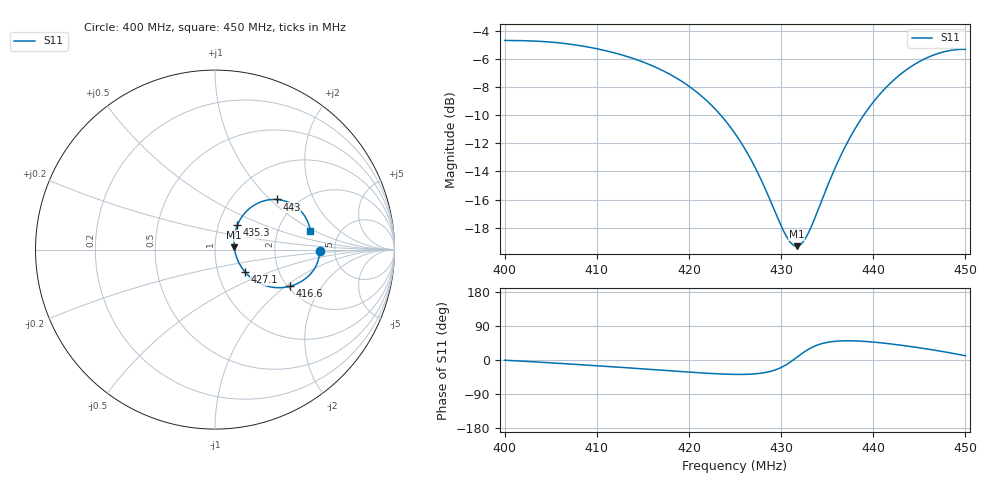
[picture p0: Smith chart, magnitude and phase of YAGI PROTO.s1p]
! TOUCHSTONE file generated by CST MICROWAVE STUDIO
! Date and time: Thu Jan 23 14:44:07 2025
! Project name: YAGI PROTO.cst
! Parameters = {AntenaLength=429.47; BoomDiameter=20; BoomLength=733; DipolePost=166; DirLength1=290.02; DirLength2=285.87; DirLength3=281.46; DirLength4=277.33; DirLength5=273.74; DirPost1=218; DirPost2=343; DirPost3=469; DirPost4=596; DirPost5=724; Gap=9; Konstanta=100; RLength=336.14; RPost=0; Ro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
! Header version: 2024
! Port assignment regex: !\s*Touchstone port\s*([0-9]+)\s*=\s*(CST MWS port|CST DES external port|CST DES block port)\s*(.+)\s* \(\"(.*)\"\)(\s*mode\s*([0-9]+))?.*
! Touchstone port assignment:
! Touchstone port 1 = CST MWS port 1 ("")
# MHz S MA R 50
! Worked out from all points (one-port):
!   1001 points, 400 MHz to 450 MHz, reference 50 ohm
!   lowest |S11| = -19.3 dB at 431.7 MHz (marker M1), VSWR 1.24, Z = 62 + j1.63 ohm
!   |S11| at or under -10 dB: 423.5 MHz to 439 MHz (15.51 MHz wide, 3.6 % of centre)
!   S11 on the Smith chart (normalised r, x): 400 MHz: 3.79, -0.07; 416.6 MHz: 2.06, -1.07; 427.1 MHz: 1.35, -0.35; 435.3 MHz: 1.23, +0.35; 443 MHz: 1.58, +1.10; 450 MHz: 3.06, +0.91
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400  0.5826 -0.6
403.3  0.5796 -4.9
406.25  0.5696 -9.3
409.35  0.5499 -14.1
412.5  0.5201 -19.2
416.6  0.4647 -26.1
418.75  0.4264 -29.8
422.15  0.3504 -35.2
423.65  0.3108 -37.1
425  0.2722 -38.0
427.15  0.2072 -36.6
430.25  0.123 -16.8
431.25  0.1097 -1.3
431.7  0.1083 6.9
432.3  0.1112 17.7
432.95  0.1204 28.0
435.3  0.1859 47.7
436.4  0.2243 50.3
437.5  0.264 50.7
438.75  0.3087 49.6
440.1  0.3551 47.1
441.55  0.4015 43.4
443  0.4429 39.1
443.75  0.4621 36.6
445.25  0.495 31.3
446.75  0.52 25.5
448.5  0.5377 18.2
450  0.5417 11.2
